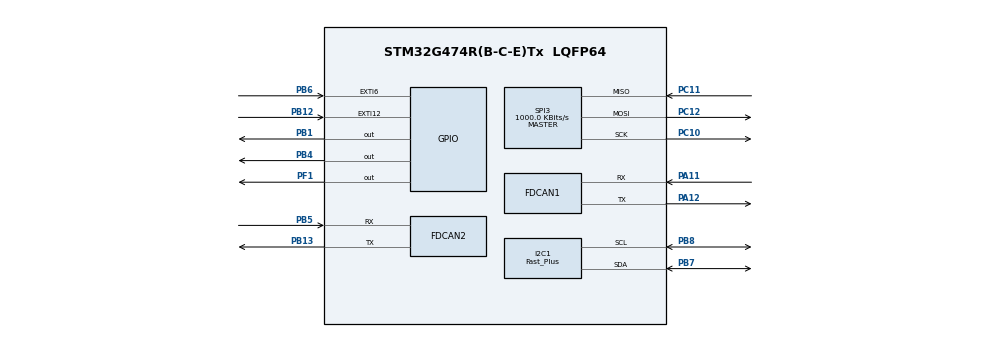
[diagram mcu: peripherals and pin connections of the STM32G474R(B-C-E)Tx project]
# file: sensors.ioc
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CRC.DefaultPolynomialUse=DEFAULT_POLYNOMIAL_ENABLE
FDCAN1.CalculateBaudRateNominal=2666666
FDCAN1.CalculateTimeBitNominal=375
FDCAN1.CalculateTimeQuantumNominal=125.0
FDCAN2.CalculateBaudRateNominal=2666666
FDCAN2.CalculateTimeBitNominal=375
FDCAN2.CalculateTimeQuantumNominal=125.0
I2C1.I2C_Speed_Mode=I2C_Fast_Plus
I2C1.Timing=0x10920C1D
Mcu.Family=STM32G4
Mcu.Name=STM32G474R(B-C-E)Tx
Mcu.Package=LQFP64
NVIC.PriorityGroup=NVIC_PRIORITYGROUP_4
NVIC.TIM1_UP_TIM16_IRQn=true\:15\:0\:false\:false\:true\:false\:true\:true
NVIC.TimeBase=TIM1_UP_TIM16_IRQn
NVIC.TimeBaseIP=TIM1
PA11.Mode=FDCAN_Activate
PA11.Signal=FDCAN1_RX
PA12.Mode=FDCAN_Activate
PA12.Signal=FDCAN1_TX
PA13.Mode=Trace_Asynchronous_SW
PA13.Signal=SYS_JTMS-SWDIO
PA14.Mode=Trace_Asynchronous_SW
PA14.Signal=SYS_JTCK-SWCLK
PB1.Signal=GPIO_Output
PB12.Signal=GPXTI12
PB13.Mode=FDCAN_Activate
PB13.Signal=FDCAN2_TX
PB3.Mode=Trace_Asynchronous_SW
PB3.Signal=SYS_JTDO-SWO
PB4.Signal=GPIO_Output
PB5.Mode=FDCAN_Activate
PB5.Signal=FDCAN2_RX
PB6.Signal=GPXTI6
PB7.Mode=I2C
PB7.Signal=I2C1_SDA
PB8-BOOT0.Mode=I2C
PB8-BOOT0.Signal=I2C1_SCL
PC10.GPIO_PuPd=GPIO_PULLDOWN
PC10.Mode=Full_Duplex_Master
PC10.Signal=SPI3_SCK
PC11.GPIO_PuPd=GPIO_NOPULL
PC11.Mode=Full_Duplex_Master
PC11.Signal=SPI3_MISO
PC12.Mode=Full_Duplex_Master
PC12.Signal=SPI3_MOSI
PC8.Signal=I2C3_SCL
PC9.Signal=I2C3_SDA
PF0-OSC_IN.Mode=HSE-External-Clock-Source
PF0-OSC_IN.Signal=RCC_OSC_IN
PF1-OSC_OUT.Signal=GPIO_Output
ProjectManager.HeapSize=0x200
ProjectManager.StackSize=0x400
ProjectManager.TargetToolchain=CMake
RCC.ADC12Freq_Value=128000000
RCC.ADC345Freq_Value=128000000
RCC.AHBFreq_Value=128000000
RCC.APB1Freq_Value=128000000
RCC.APB1TimFreq_Value=128000000
RCC.APB2Freq_Value=128000000
RCC.APB2TimFreq_Value=128000000
RCC.CortexFreq_Value=128000000
RCC.EXTERNAL_CLOCK_VALUE=12288000
RCC.HCLKFreq_Value=128000000
RCC.HSE_VALUE=8000000
RCC.HSI48_VALUE=48000000
RCC.HSI_VALUE=16000000
RCC.I2C2CLockSelection=RCC_I2C2CLKSOURCE_SYSCLK
RCC.I2C3CLockSelection=RCC_I2C3CLKSOURCE_SYSCLK
RCC.I2C4CLockSelection=RCC_I2C4CLKSOURCE_SYSCLK
RCC.LSE_VALUE=32768
RCC.PLLN=32
RCC.PLLSourceVirtual=RCC_PLLSOURCE_HSE
RCC.SYSCLKFreq_VALUE=128000000
RCC.SYSCLKSource=RCC_SYSCLKSOURCE_PLLCLK
RCC.USBFreq_Value=128000000
RCC.VCOOutputFreq_Value=256000000
SPI3.BaudRatePrescaler=SPI_BAUDRATEPRESCALER_128
SPI3.CLKPhase=SPI_PHASE_1EDGE
SPI3.CLKPolarity=SPI_POLARITY_LOW
SPI3.CalculateBaudRate=1000.0 KBits/s
SPI3.DataSize=SPI_DATASIZE_16BIT
SPI3.Direction=SPI_DIRECTION_2LINES
SPI3.FirstBit=SPI_FIRSTBIT_MSB
SPI3.Mode=SPI_MODE_MASTER
SPI3.NSSPMode=SPI_NSS_PULSE_DISABLE
SPI3.VirtualType=VM_MASTER
VP_CRC_VS_CRC.Mode=CRC_Activate
VP_SYS_VS_DBSignals.Mode=DisableDeadBatterySignals
VP_SYS_VS_tim1.Mode=TIM1
board=custom

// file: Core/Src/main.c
/* USER CODE BEGIN Header */
/**
  ******************************************************************************
  * @file           : main.c
  * @brief          : Main program body
  ******************************************************************************
  * @attention
  *
  * Copyright (c) 2024 STMicroelectronics.
  * All rights reserved.
  *
  * This software is licensed under terms that can be found in the LICENSE file
  * in the root directory of this software component.
  * If no LICENSE file comes with this software, it is provided AS-IS.
  *
  ******************************************************************************
  */
/* USER CODE END Header */
#include "main.h"
#include "crc.h"
#include "fdcan.h"
#include "i2c.h"
#include "spi.h"
#include "gpio.h"

/* USER CODE BEGIN Includes */
#include <stdio.h>
#include "VL53L4ED_api.h"
#include "bmi323.h"
//#include "circularBuffer.h"
/* USER CODE END Includes */

/* USER CODE BEGIN PTD */
#define BMI323_CS_GPIO_Port GPIOB
#define BMI323_CS_Pin       GPIO_PIN_4
/* USER CODE END PTD */

/* USER CODE BEGIN PD */
#ifdef __GNUC__
#define PUTCHAR_PROTOTYPE int __io_putchar(int ch)
#else
#define PUTCHAR_PROTOTYPE int fputc(int ch, FILE *f)
#endif
/* USER CODE END PD */

/* USER CODE BEGIN PM */
PUTCHAR_PROTOTYPE
{
  ITM_SendChar(ch);
  return ch;
}
//CircularBuffer *cb;
/* USER CODE END PM */

/* USER CODE BEGIN PV */
// FDCAN_RxHeaderTypeDef RxHeader_FDCAN2;
/* USER CODE END PV */

void SystemClock_Config(void);

/* USER CODE BEGIN 0 */
/*
I2C2 - is meant for thermal sensor MLX90640 and is ran using DMA to offload CPU for calculations
     - still need to fully test but ideally implmentation is done

 */
/* USER CODE END 0 */

int main(void)
{

  /* USER CODE BEGIN 1 */
  //cb = circular_buffer_init(64, 68 * sizeof(uint8_t));
  /* USER CODE END 1 */

  /* MCU Configuration--------------------------------------------------------*/

  /* Reset of all peripherals, Initializes the Flash interface and the Systick. */
  HAL_Init();

  /* Configure the system clock */
  SystemClock_Config();

  /* Initialize all configured peripherals */
  MX_GPIO_Init();
  MX_CRC_Init();
  MX_FDCAN1_Init();
  MX_FDCAN2_Init();
  MX_I2C1_Init();
  MX_SPI3_Init();
  /* USER CODE BEGIN 2 */

  // HAL_FDCAN_Start(&hfdcan1);
  // HAL_FDCAN_Start(&hfdcan2);
  // HAL_FDCAN_ActivateNotification(&hfdcan1, FDCAN_IT_RX_FIFO0_NEW_MESSAGE, 0);
  // HAL_FDCAN_ActivateNotification(&hfdcan2, FDCAN_IT_RX_FIFO0_NEW_MESSAGE, 0);
  bmi323 bmi323_dev;
  HAL_GPIO_WritePin(BMI323_CS_GPIO_Port, BMI323_CS_Pin, GPIO_PIN_SET);
  bmi323_init(&bmi323_dev, &hspi3, BMI323_CS_GPIO_Port, BMI323_CS_Pin);
  // Send 2 dummy bytes to switch BMI323 to SPI mode
  // uint16_t dummy_byte = 0x8000;
  // HAL_GPIO_WritePin(BMI323_CS_GPIO_Port, BMI323_CS_Pin, GPIO_PIN_RESET);
  // HAL_SPI_Transmit(&hspi3,(uint8_t*)&dummy_byte, 1, HAL_MAX_DELAY);
  // HAL_GPIO_WritePin(BMI323_CS_GPIO_Port, BMI323_CS_Pin, GPIO_PIN_SET);
  //HAL_Delay(1);  // Short delay after mode switch

  // Initialize BMI323 sensor

  // if (BMI323_Init() != HAL_OK) {
  //   printf("BMI323 initialization failed!\r\n");
  //   Error_Handler();
  // }

  // static uint16_t eeMLX90640[832];
  // static paramsMLX90640 mlx90640;
  // #define MLX90640_ADDRESS 0x33<<1
  // MLX90640_DumpEE(MLX90640_ADDRESS, eeMLX90640);

  // MLX90640_ExtractParameters(eeMLX90640, &mlx90640);

  // MLX90640_SetRefreshRate(MLX90640_ADDRESS, 0x05);

  // MLX90640_SynchFrame(MLX90640_ADDRESS);
  //  MLX90640_SetRefreshRate(0x33, 0x05);
  /* USER CODE END 2 */

  /* Infinite loop */
  /* USER CODE BEGIN WHILE */
  //begin VL53L4ED
  HAL_Delay(100); // wait for 5ms to power up the device
  HAL_GPIO_WritePin(GPIOB, GPIO_PIN_1, GPIO_PIN_RESET); //TOF_L_XSHUT_Pin
  HAL_GPIO_WritePin(GPIOF, GPIO_PIN_1, GPIO_PIN_RESET); //TOF_C_XSHUT_Pin
  HAL_Delay(100); // wait for 5ms to reset the device
  HAL_GPIO_WritePin(GPIOB, GPIO_PIN_1, GPIO_PIN_SET); //TOF_L_XSHUT_Pin
  HAL_GPIO_WritePin(GPIOF, GPIO_PIN_1, GPIO_PIN_SET); //TOF_C_XSHUT_Pin
  HAL_Delay(100); // wait for 5ms to power up the device

  uint16_t status = 0;

  uint16_t sensor_id = 0;
  VL53L4ED_ResultsData_t results;
  uint8_t p_data_ready;

  int TOF_ID = 0x52;
  HAL_GPIO_TogglePin(GPIOF, GPIO_PIN_1);
  status = VL53L4ED_GetSensorId(TOF_ID, &sensor_id);
  printf("VL53L4ED Sensor ID: 0x%04X\n", sensor_id);
  status = VL53L4ED_StartRanging(TOF_ID);
  status = VL53L4ED_SetRangeTiming(TOF_ID, 50, 70);
  status = VL53L4ED_SetOffset(TOF_ID, 50); // Set offset to 0 for testing

  while (1)
  {
    // HAL_FDCAN_AddMessageToTxFifoQ(&hfdcan1, &TxHeader, TxData);
    // HAL_FDCAN_AddMessageToTxFifoQ(&hfdcan2, &TxHeader, TxData);
    /* USER CODE END WHILE */

    /* USER CODE BEGIN 3 */
    //begin VL53L4ED
    status = VL53L4ED_CheckForDataReady(TOF_ID, &p_data_ready);
    if(p_data_ready){
      /* (Mandatory) Clear HW interrupt to restart measurements */
      VL53L4ED_ClearInterrupt(TOF_ID);
      /* Read measured distance. RangeStatus = 0 means valid data */
      VL53L4ED_GetResult(TOF_ID, &results);
      printf("Status = %3u, Distance = %5u mm, Signal = %6u kcps/spad\n",
              results.range_status,
              results.distance_mm- 67,
              results.signal_per_spad_kcps);
      }else{
        HAL_Delay(10);
        __disable_irq();
        __enable_irq();
      }

    //begin BMI323
    // int16_t ax, ay, az;
    // if (BMI323_ReadAccel(&ax, &ay, &az) == HAL_OK) {
    //     printf("Accel: X=%d, Y=%d, Z=%d\r\n", ax, ay, az);
    // }
    HAL_Delay(100);  // Read every 100ms
  }
  /* USER CODE END 3 */
}

void SystemClock_Config(void)
{
  LL_FLASH_SetLatency(LL_FLASH_LATENCY_4);
  while(LL_FLASH_GetLatency() != LL_FLASH_LATENCY_4)
  {
  }
  LL_PWR_SetRegulVoltageScaling(LL_PWR_REGU_VOLTAGE_SCALE1);
  LL_RCC_HSE_EnableBypass();
  LL_RCC_HSE_Enable();
   /* Wait till HSE is ready */
  while(LL_RCC_HSE_IsReady() != 1)
  {
  }

  LL_RCC_PLL_ConfigDomain_SYS(LL_RCC_PLLSOURCE_HSE, LL_RCC_PLLM_DIV_1, 32, LL_RCC_PLLR_DIV_2);
  LL_RCC_PLL_EnableDomain_SYS();
  LL_RCC_PLL_Enable();
   /* Wait till PLL is ready */
  while(LL_RCC_PLL_IsReady() != 1)
  {
  }

  LL_RCC_SetSysClkSource(LL_RCC_SYS_CLKSOURCE_PLL);
  LL_RCC_SetAHBPrescaler(LL_RCC_SYSCLK_DIV_2);
   /* Wait till System clock is ready */
  while(LL_RCC_GetSysClkSource() != LL_RCC_SYS_CLKSOURCE_STATUS_PLL)
  {
  }

  /* Insure 1us transition state at intermediate medium speed clock*/
  for (__IO uint32_t i = (170 >> 1); i !=0; i--);

  /* Set AHB prescaler*/
  LL_RCC_SetAHBPrescaler(LL_RCC_SYSCLK_DIV_1);
  LL_RCC_SetAPB1Prescaler(LL_RCC_APB1_DIV_1);
  LL_RCC_SetAPB2Prescaler(LL_RCC_APB2_DIV_1);
  LL_SetSystemCoreClock(128000000);

   /* Update the time base */
  if (HAL_InitTick (TICK_INT_PRIORITY) != HAL_OK)
  {
    Error_Handler();
  }
}

/* USER CODE BEGIN 4 */
// void HAL_FDCAN_RxFifo0Callback(FDCAN_HandleTypeDef *hfdcan, uint32_t RxFifo0ITs)
// {
//   uint8_t RxData[64];
//   HAL_FDCAN_GetRxMessage(hfdcan, FDCAN_RX_FIFO0, &RxHeader_FDCAN2, RxData);
//   printf("got messgae\n");
//   //circularBufferPush(cb, RxData, sizeof(RxData));

// }
/* USER CODE END 4 */

void HAL_TIM_PeriodElapsedCallback(TIM_HandleTypeDef *htim)
{
  if (htim->Instance == TIM1)
  {
    HAL_IncTick();
  }
}

void Error_Handler(void)
{
  __disable_irq();
  while (1)
  {
  }
}
